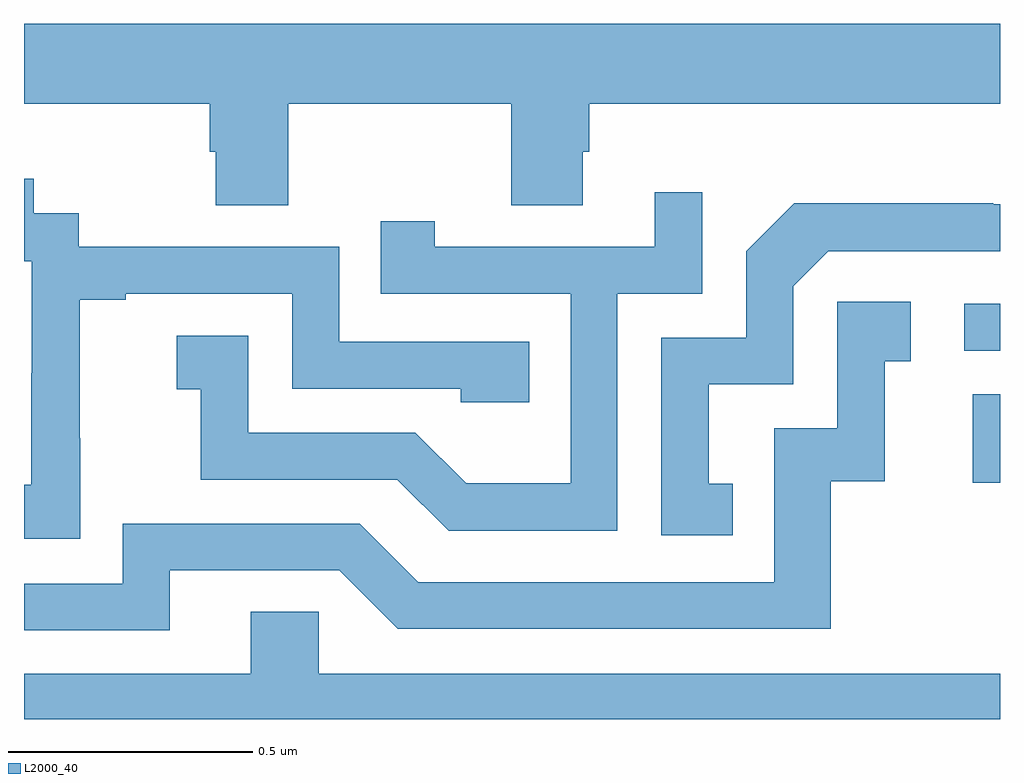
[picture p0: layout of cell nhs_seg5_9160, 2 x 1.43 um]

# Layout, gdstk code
import gdstk
lib = gdstk.Library(unit=1e-6, precision=1e-09)
def R(c, l, rs):  # rectangles x0, y0, x1, y1
    for r in rs: c.add(gdstk.rectangle(r[:2], r[2:], *l))
def P(c, l, *ps):  # polygons
    for p in ps: c.add(gdstk.Polygon(p, *l))
L2000_40 = (2000, 40)

nhs_seg5_9160 = lib.new_cell('nhs_seg5_9160')
R(nhs_seg5_9160, L2000_40, [(231.944,889.284,232,889.465), (231.927,889.554,232,889.65)])
P(nhs_seg5_9160, L2000_40, [(230,890.06),(230.381,890.06),(230.381,889.962),(230.393,889.962),(230.393,889.852),(230.541,889.852),(230.541,890.06),(230.998,890.06),(230.998,889.852),(231.145,889.852),(231.145,889.962),(231.158,889.962),(231.158,890.06),(232,890.06),(232,890.224),(230,890.224)],
  [(230.115,889.375),(230.114,889.375),(230.114,889.659),(230.209,889.659),(230.209,889.671),(230.55,889.671),(230.55,889.476),(230.895,889.476),(230.895,889.449),(231.035,889.449),(231.035,889.572),(230.646,889.572),(230.646,889.767),(230.112,889.767),(230.112,889.836),(230.02,889.836),(230.02,889.906),(230,889.906),(230,889.737),(230.016,889.737),(230.016,889.508),(230.015,889.508),(230.015,889.279),(230,889.279),(230,889.169),(230.115,889.169)],
  [(231.216,889.671),(231.39,889.671),(231.39,889.879),(231.293,889.879),(231.293,889.767),(230.842,889.767),(230.842,889.819),(230.731,889.819),(230.731,889.671),(231.12,889.671),(231.12,889.282),(230.906,889.282),(230.802,889.386),(230.46,889.386),(230.46,889.585),(230.313,889.585),(230.313,889.475),(230.362,889.475),(230.362,889.29),(230.765,889.29),(230.87,889.185),(231.216,889.185)],
  [(231.452,889.281),(231.403,889.281),(231.403,889.485),(231.576,889.485),(231.576,889.686),(231.648,889.758),(232,889.758),(232,889.854),(231.986,889.854),(231.986,889.856),(231.578,889.856),(231.48,889.758),(231.48,889.581),(231.306,889.581),(231.306,889.176),(231.452,889.176)],
  [(230.299,889.104),(230.646,889.104),(230.766,888.984),(231.653,888.984),(231.653,889.287),(231.764,889.287),(231.764,889.533),(231.817,889.533),(231.817,889.654),(231.666,889.654),(231.666,889.395),(231.537,889.395),(231.537,889.08),(230.808,889.08),(230.688,889.2),(230.202,889.2),(230.202,889.077),(230,889.077),(230,888.981),(230.299,888.981)],
  [(232,888.892),(230.604,888.892),(230.604,889.019),(230.465,889.019),(230.465,888.892),(230,888.892),(230,888.799),(232,888.799)])

lib.write_gds('nhs_seg5_9160.gds')
